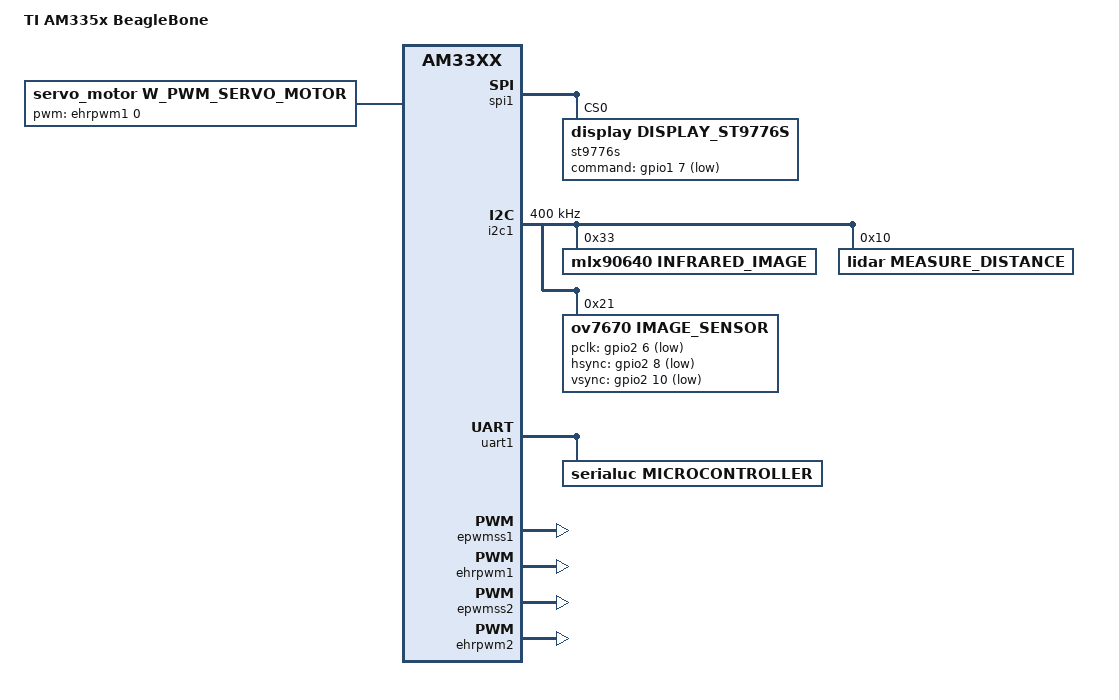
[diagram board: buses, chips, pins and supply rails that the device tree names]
/dts-v1/;
#include "am33xx.dtsi"
#include "am335x-bone-common.dtsi"
#include "am335x-boneblack-common.dtsi"
#include "am335x-boneblack-hdmi.dtsi"

//make ARCH=arm CROSS_COMPILE=arm-cortex_a8-linux-gnueabihf- dtbs

/*
		#define AM335X_PIN_LCD_DATA0			0x8a0
		#define AM335X_PIN_LCD_DATA1			0x8a4
		#define AM335X_PIN_LCD_DATA2			0x8a8
		#define AM335X_PIN_LCD_DATA3			0x8ac
		#define AM335X_PIN_LCD_DATA4			0x8b0
		#define AM335X_PIN_LCD_DATA5			0x8b4
		#define AM335X_PIN_LCD_DATA6			0x8b8
		#define AM335X_PIN_LCD_DATA7			0x8bc
		#define AM335X_PIN_LCD_DATA8			0x8c0
		#define AM335X_PIN_LCD_DATA9			0x8c4
		#define AM335X_PIN_LCD_DATA10			0x8c8
		#define AM335X_PIN_LCD_DATA11			0x8cc
		#define AM335X_PIN_LCD_DATA12			0x8d0
		#define AM335X_PIN_LCD_DATA13			0x8d4
		#define AM335X_PIN_LCD_DATA14			0x8d8
		#define AM335X_PIN_LCD_DATA15			0x8dc
		#define AM335X_PIN_LCD_VSYNC			0x8e0
		#define AM335X_PIN_LCD_HSYNC			0x8e4
		#define AM335X_PIN_LCD_PCLK				0x8e8
		#define AM335X_PIN_LCD_AC_BIAS_EN		0x8ec
*/

#include <dt-bindings/interrupt-controller/irq.h>

/ {
	model = "TI AM335x BeagleBone";
	compatible = "ti,am335x-bone", "ti,am33xx";
	
	pwm_servo {
		compatible	= "servo_motor,w_pwm_servo_motor";
		pwms 		= <&ehrpwm1 0 20000000 0>;
		pwm-names 	= "pwm_servo_motor";
		pinctrl-names	= "default";
		//pinctrl-0	= <&ehrpwm1_pins>;
		enabled		= <0>;
		duty		= <0>;
		status = "okay";				
	};
	
};

&am33xx_pinmux {

	pinctrl-name = "default";
	//pinctrl-0 = <&user_irq_led_default>;

	i2c1_pins: i2c1-pins {
		pinctrl-single,pins = <
			AM33XX_PADCONF(0x958, PIN_INPUT_PULLUP, MUX_MODE2)		/* spi0_d1.i2c2_sda 		P9_18*/
			AM33XX_PADCONF(0x95c, PIN_INPUT_PULLUP, MUX_MODE2)		/* spi0_cs0.i2c2_scl		P9_17*/

			AM33XX_IOPAD(0x8a0,PIN_INPUT_PULLDOWN | MUX_MODE7)		/* LCD_DATA0.gpio2_6		P8_45	|	PCLK	*/
			AM33XX_IOPAD(0x8a8,PIN_INPUT_PULLDOWN | MUX_MODE7) 		/* LCD_DATA2.gpio2_8 		P8_43	|	HSYNC	*/
			AM33XX_IOPAD(0x8b0,PIN_INPUT_PULLDOWN | MUX_MODE7)		/* LCD_DATA4.gpio2_10		P8_41	|	VSYNC 	*/

			/* AM33XX_IOPAD(0x894,PIN_OUTPUT_PULLDOWN | MUX_MODE7) 	*/		/* gpmc_oen_ren.gpio2_3 	P8_8*/
			/* AM33XX_IOPAD(0x890,PIN_INPUT_PULLDOWN | MUX_MODE7)	*/		/* gpmc_adv_ale.gpio2_2		P8_7*/
			/* AM33XX_IOPAD(0x894,PIN_OUTPUT_PULLDOWN | MUX_MODE7) 	*/		/* gpmc_oen_ren.gpio2_3 	P8_8*/
			/* AM33XX_IOPAD(0x894,PIN_OUTPUT_PULLDOWN | MUX_MODE7) 	*/		/* gpmc_oen_ren.gpio2_3 	P8_8*/
			/* AM33XX_IOPAD(0x890,PIN_INPUT_PULLDOWN | MUX_MODE7)	*/		/* gpmc_adv_ale.gpio2_2		P8_7*/
			/* AM33XX_IOPAD(0x894,PIN_OUTPUT_PULLDOWN | MUX_MODE7) 	*/		/* gpmc_oen_ren.gpio2_3 	P8_8*/
			/* AM33XX_IOPAD(0x890,PIN_INPUT_PULLDOWN | MUX_MODE7)	*/		/* gpmc_adv_ale.gpio2_2		P8_7*/
			/* AM33XX_IOPAD(0x894,PIN_OUTPUT_PULLDOWN | MUX_MODE7) 	*/		/* gpmc_oen_ren.gpio2_3 	P8_8*/
		>;
	};
	
	uart1_pins: uart1-pins {
		pinctrl-single,pins = <
			AM33XX_PADCONF(AM335X_PIN_UART1_RXD, PIN_INPUT_PULLUP, MUX_MODE0)
			AM33XX_PADCONF(AM335X_PIN_UART1_TXD, PIN_OUTPUT_PULLDOWN, MUX_MODE0)
		>;
	};
	
   	ehrpwm1_pins: ehrpwm1_pins {
       	pinctrl-single,pins = <
           		AM33XX_IOPAD(0x848, PIN_OUTPUT | MUX_MODE6) /* P9.14, EHRPWM1A */
           		AM33XX_IOPAD(0x84c, PIN_OUTPUT | MUX_MODE6) /* P9.16, EHRPWM1B */
       	>;
   	};
   	
   	ehrpwm2_pins: ehrpwm2_pins {
       	pinctrl-single,pins = <
     		AM33XX_IOPAD(0x820, PIN_OUTPUT | MUX_MODE4) /* P8.19, EHRPWM2A */
     		AM33XX_IOPAD(0x824, PIN_OUTPUT | MUX_MODE4) /* P8.13, EHRPWM2B */
    	>;
    };	
    	     	
    spi1_pins: spi1_pins {
		pinctrl-single,pins = <
			0x190 0x33	/* mcasp0_aclkx.spi1_sclk, INPUT_PULLUP | MODE3 */
			0x194 0x33	/* mcasp0_fsx.spi1_d0, INPUT_PULLUP | MODE3 */
			0x198 0x13	/* mcasp0_axr0.spi1_d1, OUTPUT_PULLUP | MODE3 */
			0x19c 0x13	/* mcasp0_ahclkr.spi1_cs0, OUTPUT_PULLUP | MODE3 */
			AM33XX_IOPAD(0x81C,PIN_OUTPUT_PULLDOWN | MUX_MODE7)	/* gpmc_ad4.gpio1_4 		P8_4*/
		>;
	};

};

&spi1 {
	pinctrl-names = "default";
	pinctrl-0 = <&spi1_pins>;
	status = "okay";
	spi-max-frequency = <16000000>;
	st9776s: spi@0{
		compatible = "display,display_st9776s";		
		reg = <0>;
		spi-cpha;
		command-gpios=<&gpio1 7 GPIO_ACTIVE_LOW>; /* See gpio datasheet pinout mode 7 */
	};
};

&i2c1 {
	pinctrl-names = "default";
	pinctrl-0 = <&i2c1_pins>;

	status = "okay";
	clock-frequency = <400000>;
	
	mlx90640: infrared_sensor@33{
		compatible = "mlx90640,infrared_image";
		reg = <0x33>;
	};

	lidar: lidar_measurement@10{
		compatible = "lidar,measure_distance";
		reg = <0x10>;
	};

	ov7670: image_sensor@21{
		compatible = "ov7670,image_sensor";
		reg = <0x21>;		
		pclk-gpios	=<&gpio2 6 GPIO_ACTIVE_LOW>;
		hsync-gpios	=<&gpio2 8 GPIO_ACTIVE_LOW>;
		vsync-gpios	=<&gpio2 10 GPIO_ACTIVE_LOW>;
	};

};

&uart1 {
	pinctrl-names = "default";
	pinctrl-0 = <&uart1_pins>;
	status = "okay";
	
	serialuc: comm_uc{
		compatible = "serialuc,microcontroller";
	};
};

&epwmss1 {
	status = "okay";
};

&ehrpwm1 {
	status = "okay";
	pinctrl-names = "default";
	pinctrl-0 = <&ehrpwm1_pins>;
};

&epwmss2 {
	status = "okay";
};

&ehrpwm2 {
	status = "okay";
	pinctrl-names = "default";
	pinctrl-0 = <&ehrpwm2_pins>;
};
